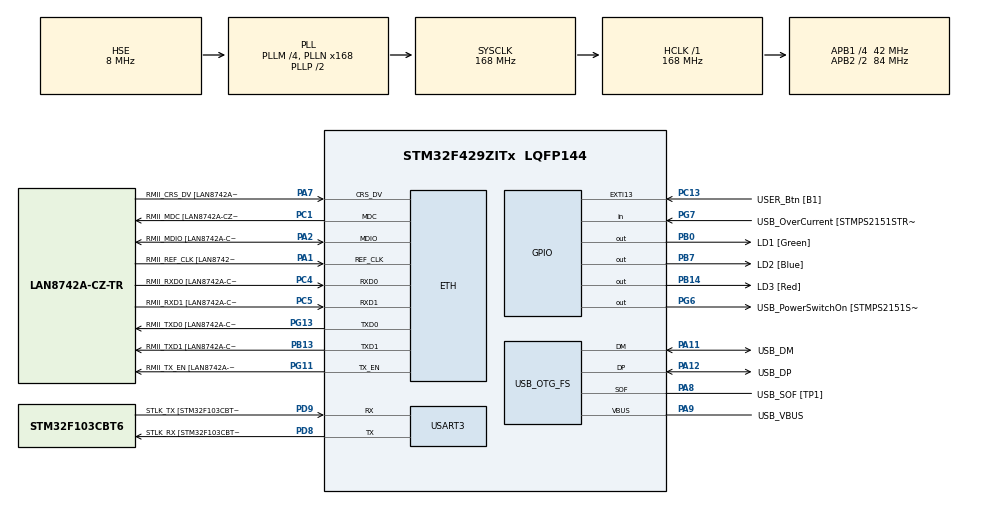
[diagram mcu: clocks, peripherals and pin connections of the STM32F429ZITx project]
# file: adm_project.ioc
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ETH.MediaInterface=HAL_ETH_RMII_MODE
ETH.PHY_Name=LAN8742A_PHY_ADDRESS
ETH.PHY_Value=0
ETH.PhyAddress=0
Mcu.Family=STM32F4
Mcu.Name=STM32F429ZITx
Mcu.Package=LQFP144
NVIC.PriorityGroup=NVIC_PRIORITYGROUP_4
PA1.GPIO_Label=RMII_REF_CLK [LAN8742A-CZ-TR_REFCLK0]
PA1.Mode=RMII
PA1.Signal=ETH_REF_CLK
PA10.GPIO_Label=USB_ID
PA10.Signal=USB_OTG_FS_ID
PA11.GPIO_Label=USB_DM
PA11.Mode=Device_Only
PA11.Signal=USB_OTG_FS_DM
PA12.GPIO_Label=USB_DP
PA12.Mode=Device_Only
PA12.Signal=USB_OTG_FS_DP
PA13.GPIO_Label=TMS
PA13.Mode=Serial_Wire
PA13.Signal=SYS_JTMS-SWDIO
PA14.GPIO_Label=TCK
PA14.Mode=Serial_Wire
PA14.Signal=SYS_JTCK-SWCLK
PA2.GPIO_Label=RMII_MDIO [LAN8742A-CZ-TR_MDIO]
PA2.Mode=RMII
PA2.Signal=ETH_MDIO
PA7.GPIO_Label=RMII_CRS_DV [LAN8742A-CZ-TR_CRS_DV]
PA7.Mode=RMII
PA7.Signal=ETH_CRS_DV
PA8.GPIO_Label=USB_SOF [TP1]
PA8.Mode=Activate_SOF_FS
PA8.Signal=USB_OTG_FS_SOF
PA9.GPIO_Label=USB_VBUS
PA9.Mode=Activate_VBUS
PA9.Signal=USB_OTG_FS_VBUS
PB0.GPIO_Label=LD1 [Green]
PB0.Signal=GPIO_Output
PB13.GPIO_Label=RMII_TXD1 [LAN8742A-CZ-TR_TXD1]
PB13.Mode=RMII
PB13.Signal=ETH_TXD1
PB14.GPIO_Label=LD3 [Red]
PB14.Signal=GPIO_Output
PB7.GPIO_Label=LD2 [Blue]
PB7.Signal=GPIO_Output
PC1.GPIO_Label=RMII_MDC [LAN8742A-CZ-TR_MDC]
PC1.Mode=RMII
PC1.Signal=ETH_MDC
PC13.GPIO_Label=USER_Btn [B1]
PC13.Signal=GPXTI13
PC14/OSC32_IN.Mode=LSE-External-Oscillator
PC14/OSC32_IN.Signal=RCC_OSC32_IN
PC15/OSC32_OUT.Mode=LSE-External-Oscillator
PC15/OSC32_OUT.Signal=RCC_OSC32_OUT
PC4.GPIO_Label=RMII_RXD0 [LAN8742A-CZ-TR_RXD0]
PC4.Mode=RMII
PC4.Signal=ETH_RXD0
PC5.GPIO_Label=RMII_RXD1 [LAN8742A-CZ-TR_RXD1]
PC5.Mode=RMII
PC5.Signal=ETH_RXD1
PD8.GPIO_Label=STLK_RX [STM32F103CBT6_PA3]
PD8.Mode=Asynchronous
PD8.Signal=USART3_TX
PD9.GPIO_Label=STLK_TX [STM32F103CBT6_PA2]
PD9.Mode=Asynchronous
PD9.Signal=USART3_RX
PG11.GPIO_Label=RMII_TX_EN [LAN8742A-CZ-TR_TXEN]
PG11.Mode=RMII
PG11.Signal=ETH_TX_EN
PG13.GPIO_Label=RMII_TXD0 [LAN8742A-CZ-TR_TXD0]
PG13.Mode=RMII
PG13.Signal=ETH_TXD0
PG6.GPIO_Label=USB_PowerSwitchOn [STMPS2151STR_EN]
PG6.Signal=GPIO_Output
PG7.GPIO_Label=USB_OverCurrent [STMPS2151STR_FAULT]
PG7.Signal=GPIO_Input
PH0/OSC_IN.GPIO_Label=MCO [STM32F103CBT6_PA8]
PH0/OSC_IN.Mode=HSE-External-Clock-Source
PH0/OSC_IN.Signal=RCC_OSC_IN
PH1/OSC_OUT.Mode=HSE-External-Clock-Source
PH1/OSC_OUT.Signal=RCC_OSC_OUT
ProjectManager.HeapSize=0x200
ProjectManager.StackSize=0x400
ProjectManager.TargetToolchain=STM32CubeIDE
RCC.48MHZClocksFreq_Value=48000000
RCC.AHBFreq_Value=168000000
RCC.APB1CLKDivider=RCC_HCLK_DIV4
RCC.APB1Freq_Value=42000000
RCC.APB1TimFreq_Value=84000000
RCC.APB2CLKDivider=RCC_HCLK_DIV2
RCC.APB2Freq_Value=84000000
RCC.APB2TimCLKDivider=2
RCC.APB2TimFreq_Value=168000000
RCC.CortexFreq_Value=168000000
RCC.HCLKFreq_Value=168000000
RCC.HSE_VALUE=8000000
RCC.HSI_VALUE=16000000
RCC.PLLM=4
RCC.PLLMUL=RCC_PLL_MUL9
RCC.PLLN=168
RCC.PLLQ=7
RCC.PRESCALERUSB=RCC_USBCLKSOURCE_PLL_DIV1_5
RCC.SYSCLKFreq_VALUE=168000000
RCC.SYSCLKSource=RCC_SYSCLKSOURCE_PLLCLK
RCC.SYSCLKSourceVirtual=RCC_SYSCLKSOURCE_PLLCLK
RCC.USBFreq_Value=48000000
RCC.VCOOutputFreq_Value=336000000
USART3.VirtualMode=VM_ASYNC
USB_OTG_FS.VirtualMode=Device_Only
board=NUCLEO-F429ZI

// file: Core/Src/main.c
/* USER CODE BEGIN Header */
/**
 ******************************************************************************
 * @file           : main.c
 * @brief          : Main program body
 ******************************************************************************
 * @attention
 *
 * Copyright (c) 2022 STMicroelectronics.
 * All rights reserved.
 *
 * This software is licensed under terms that can be found in the LICENSE file
 * in the root directory of this software component.
 * If no LICENSE file comes with this software, it is provided AS-IS.
 *
 ******************************************************************************
 */
/* USER CODE END Header */
#include "main.h"
#include "string.h"
#include "asm_func.h"
#include "exercises.h"

ETH_TxPacketConfig TxConfig;
ETH_DMADescTypeDef DMARxDscrTab[ETH_RX_DESC_CNT]; /* Ethernet Rx DMA Descriptors */
ETH_DMADescTypeDef DMATxDscrTab[ETH_TX_DESC_CNT]; /* Ethernet Tx DMA Descriptors */

ETH_HandleTypeDef heth;

UART_HandleTypeDef huart3;

PCD_HandleTypeDef hpcd_USB_OTG_FS;

void SystemClock_Config(void);
static void MX_GPIO_Init(void);
static void MX_ETH_Init(void);
static void MX_USART3_UART_Init(void);
static void MX_USB_OTG_FS_PCD_Init(void);

/* USER CODE BEGIN 0 */

static void PrivilegiosSVC(void) {
	// Obtiene valor del registro de 32 bits del procesador llamado "control".
	// El registro guarda los siguientes estados:
	// bit 2: Uso de FPU en el contexto actual. Usado=1, no usado=0.
	// bit 1: Mapeo del stack pointer(sp). MSP=0, PSP=1.
	// bit 0: Modo de ejecucion en Thread. Privilegiado=0, No privilegiado=1.
	//        Recordar que este valor solo se usa en modo Thread. Las
	//        interrupciones siempre se ejecutan en modo Handler con total
	//        privilegio.
	uint32_t x = __get_CONTROL();

	// Actividad de debug: Ver registro "control" y valor de variable "x".
	//__BKPT (0);

	x |= 1;
	// bit 0 a modo No privilegiado.
	__set_CONTROL(x);

	// En este punto se estaria ejecutando en modo No privilegiado.
	// Lectura del registro "control" para confirmar.
	x = __get_CONTROL();

	// Actividad de debug: Ver registro "control" y valor de variable "x".
	//__BKPT (0);

	x &= ~1u;
	// Se intenta volver a modo Privilegiado (bit 0, valor 0).
	__set_CONTROL(x);

	// Confirma que esta operacion es ignorada por estar ejecutandose en modo
	// Thread no privilegiado.
	x = __get_CONTROL();

	// Actividad de debug: Ver registro "control" y valor de variable "x".
	//__BKPT (0);

	// En este punto, ejecutando en modo Thread no privilegiado, la unica forma
	// de volver a modo privilegiado o de realizar cualquier cambio que requiera
	// modo privilegiado, es pidiendo ese servicio a un hipotetico sistema
	// opertivo de tiempo real.
	// Para esto se invoca por software a la interrupcion SVC (Supervisor Call)
	// utilizando la instruccion "svc".
	// No hay intrinsics para realizar esta tarea. Para utilizar la instruccion
	// es necesario implementar una funcion en assembler. Ver el archivo
	// asm_func.S.
	asm_svc();

	// El sistema operativo (el handler de SVC) deberia haber devuelto el modo
	// de ejecucion de Thread a privilegiado (bit 0 en valor 0).
	x = __get_CONTROL();

	// Fin del ejemplo de SVC
}
/* USER CODE END 0 */

void test_copy_vectors() {
	//
	// test -----------------------------------------------------------------
	//

	//
	// probando la funcion de copia de valores entre dos vectores en assembler (invento mio) :D
	//
	uint32_t vector3[16];
	uint32_t vector2[16];
	set_val(vector3, 16, 16);
	asm_copy_vector(vector2, vector3, 16);

}

void test_ejercicio_asm_1() {

	//
	// C
	//
	uint32_t vector1[16];
	zeros(vector1, 16);

	//
	// Assembler
	//
	uint32_t vector2[16];
	asm_zeros(vector2, 16);

}

void test_ejercicio_asm_2() {
	//
	// Assembler (el C fue testeado localmente)
	//

	uint32_t vector4[16];
	uint32_t vector5[16];
	set_val(vector4, 16, 2);
	set_val(vector5, 16, 1);
	asm_scalarProduct32(vector4, vector5, 16, 2);

}

void test_ejercicio_asm_3() {

	//
	// Assembler (C testeado localmente)
	//

	uint16_t vector6[16];
	uint16_t vector7[16];
	set_val_16(vector6, 16, 2);
	set_val_16(vector7, 16, 1);
	asm_scalarProduct16(vector6, vector7, 16, 2);

}

void test_exercise_asm_iterate() {

	int32_t vectorIn[8] = { -4234, -234, -434, 42, -988, 34, -6546, -345 };

	asm_iterate(vectorIn, 8);

}

void test_ejercicio_asm_4() {

	//
	// Assembler (C testeado localmente)
	//

	uint16_t vectorIn[16] = {
			200, 150, 100, 20
			, 35, 300, 250, 450
			, 35, 300, 250, 450
			, 35, 300, 250, 450 };

	uint16_t vectorOut[16];
	asm_scalarProduct12(vectorIn, vectorOut, 16, 400);
}

void test_exercise_asm_5() {

	uint16_t vectorIn[16] = {
			200, 150, 100, 20
			, 35, 300, 250, 450
			, 35, 300, 250, 450
			, 35, 300, 250, 450 };

	uint16_t vectorOut[16];
	windowFilter10(vectorIn, vectorOut, 16);

	uint16_t vectorOut2[16];
	asm_windowFilter10(vectorIn, vectorOut2, 16);
}

void test_exercise_asm_6() {

	uint32_t vectorIn[8] = {
			312313123, 12348598, 7823182123, 734782424
			, 312323123, 1148538, 78829123, 34724234 };

	uint16_t vectorOut[8];

	pack32_to_16(vectorIn, vectorOut, 8);

	uint16_t vectorOut2[8];
//	pack32_to_16(vectorIn, vectorOut2, 8);

	asm_pack32_to_16(vectorIn, vectorOut2, 8);

}

void test_exercise_asm_7() {

	int32_t vectorIn[8] = { -4234, -234, -434, 42, -988, 34, -6546, -345 };

	uint32_t max_index = get_max(vectorIn, 8);
	uint32_t max_index_s = asm_get_max(vectorIn, 8);

}

void test_exercise_asm_8() {

	int32_t vectorIn[8] = { -4234, -234, -434, 42, -988, 34, -6546, -345 };
	int32_t vectorOut[6];
	int32_t vectorOut2[6];
	downsampleM(vectorIn, vectorOut, 8, 3);
	asm_downsampleM(vectorIn, vectorOut2, 8, 3);

}

void test_exercise_asm_9() {

	int16_t vectorIn[8] = { 4234, 234, 434, 42, 988, 34, 6546, 345 };
	rotate(vectorIn, 8);

	int16_t vectorIn2[8] = { 4234, 234, 434, 42, 988, 34, 6546, 345 };
	asm_rotate(vectorIn2, 8);

}

int main(void) {

	/* MCU Configuration--------------------------------------------------------*/

	/* Reset of all peripherals, Initializes the Flash interface and the Systick. */
	HAL_Init();

	/* Configure the system clock */
	SystemClock_Config();

	/* Initialize all configured peripherals */
	MX_GPIO_Init();
	MX_ETH_Init();
	MX_USART3_UART_Init();
	MX_USB_OTG_FS_PCD_Init();
	/* USER CODE BEGIN 2 */
	PrivilegiosSVC();
	const uint32_t Resultado = asm_sum(5, 3);

	//
	// ---------------------------EJERCICIOS ---------------------------------------
	//

	//
	// EJERCICIO 1 -----------------------------------------------------------------
	//

	test_ejercicio_asm_1();

	//
	// EJERCICIO 2 -----------------------------------------------------------------
	//

	test_ejercicio_asm_2();

	//
	// EJERCICIO 3 -----------------------------------------------------------------
	//

	test_ejercicio_asm_3();

	//
	// test iterate -----------------------------------------------------------------
	//
	test_exercise_asm_iterate();

	//
	// EJERCICIO 4 -----------------------------------------------------------------
	//

	test_ejercicio_asm_4();

	//
	// EJERCICIO 5 -----------------------------------------------------------------
	//
	test_exercise_asm_5();

	//
	// EJERCICIO 6 -----------------------------------------------------------------
	//
	test_exercise_asm_6();

	//
	// EJERCICIO 7 -----------------------------------------------------------------
	//
	test_exercise_asm_7();

	//
	// EJERCICIO 8 -----------------------------------------------------------------
	//
	test_exercise_asm_8();

	//
	// EJERCICIO 9 -----------------------------------------------------------------
	//
	test_exercise_asm_9();

	//
	// -------------------------- END EJERCICIOS ------------------------------------

	/* USER CODE END 2 */

	/* Infinite loop */
	while (1) {

	}
}

void SystemClock_Config(void) {
	RCC_OscInitTypeDef RCC_OscInitStruct = { 0 };
	RCC_ClkInitTypeDef RCC_ClkInitStruct = { 0 };

	/** Configure the main internal regulator output voltage
	 */
	__HAL_RCC_PWR_CLK_ENABLE();
	__HAL_PWR_VOLTAGESCALING_CONFIG(PWR_REGULATOR_VOLTAGE_SCALE1);

	/** Initializes the RCC Oscillators according to the specified parameters
	 * in the RCC_OscInitTypeDef structure.
	 */
	RCC_OscInitStruct.OscillatorType = RCC_OSCILLATORTYPE_HSE;
	RCC_OscInitStruct.HSEState = RCC_HSE_BYPASS;
	RCC_OscInitStruct.PLL.PLLState = RCC_PLL_ON;
	RCC_OscInitStruct.PLL.PLLSource = RCC_PLLSOURCE_HSE;
	RCC_OscInitStruct.PLL.PLLM = 4;
	RCC_OscInitStruct.PLL.PLLN = 168;
	RCC_OscInitStruct.PLL.PLLP = RCC_PLLP_DIV2;
	RCC_OscInitStruct.PLL.PLLQ = 7;
	if (HAL_RCC_OscConfig(&RCC_OscInitStruct) != HAL_OK) {
		Error_Handler();
	}

	/** Initializes the CPU, AHB and APB buses clocks
	 */
	RCC_ClkInitStruct.ClockType = RCC_CLOCKTYPE_HCLK | RCC_CLOCKTYPE_SYSCLK
			| RCC_CLOCKTYPE_PCLK1 | RCC_CLOCKTYPE_PCLK2;
	RCC_ClkInitStruct.SYSCLKSource = RCC_SYSCLKSOURCE_PLLCLK;
	RCC_ClkInitStruct.AHBCLKDivider = RCC_SYSCLK_DIV1;
	RCC_ClkInitStruct.APB1CLKDivider = RCC_HCLK_DIV4;
	RCC_ClkInitStruct.APB2CLKDivider = RCC_HCLK_DIV2;

	if (HAL_RCC_ClockConfig(&RCC_ClkInitStruct, FLASH_LATENCY_5) != HAL_OK) {
		Error_Handler();
	}
}

static void MX_ETH_Init(void) {

	static uint8_t MACAddr[6];

	heth.Instance = ETH;
	MACAddr[0] = 0x00;
	MACAddr[1] = 0x80;
	MACAddr[2] = 0xE1;
	MACAddr[3] = 0x00;
	MACAddr[4] = 0x00;
	MACAddr[5] = 0x00;
	heth.Init.MACAddr = &MACAddr[0];
	heth.Init.MediaInterface = HAL_ETH_RMII_MODE;
	heth.Init.TxDesc = DMATxDscrTab;
	heth.Init.RxDesc = DMARxDscrTab;
	heth.Init.RxBuffLen = 1524;

	if (HAL_ETH_Init(&heth) != HAL_OK) {
		Error_Handler();
	}

	memset(&TxConfig, 0, sizeof(ETH_TxPacketConfig));
	TxConfig.Attributes = ETH_TX_PACKETS_FEATURES_CSUM
			| ETH_TX_PACKETS_FEATURES_CRCPAD;
	TxConfig.ChecksumCtrl = ETH_CHECKSUM_IPHDR_PAYLOAD_INSERT_PHDR_CALC;
	TxConfig.CRCPadCtrl = ETH_CRC_PAD_INSERT;

}

static void MX_USART3_UART_Init(void) {

	huart3.Instance = USART3;
	huart3.Init.BaudRate = 115200;
	huart3.Init.WordLength = UART_WORDLENGTH_8B;
	huart3.Init.StopBits = UART_STOPBITS_1;
	huart3.Init.Parity = UART_PARITY_NONE;
	huart3.Init.Mode = UART_MODE_TX_RX;
	huart3.Init.HwFlowCtl = UART_HWCONTROL_NONE;
	huart3.Init.OverSampling = UART_OVERSAMPLING_16;
	if (HAL_UART_Init(&huart3) != HAL_OK) {
		Error_Handler();
	}

}

static void MX_USB_OTG_FS_PCD_Init(void) {

	hpcd_USB_OTG_FS.Instance = USB_OTG_FS;
	hpcd_USB_OTG_FS.Init.dev_endpoints = 4;
	hpcd_USB_OTG_FS.Init.speed = PCD_SPEED_FULL;
	hpcd_USB_OTG_FS.Init.dma_enable = DISABLE;
	hpcd_USB_OTG_FS.Init.phy_itface = PCD_PHY_EMBEDDED;
	hpcd_USB_OTG_FS.Init.Sof_enable = ENABLE;
	hpcd_USB_OTG_FS.Init.low_power_enable = DISABLE;
	hpcd_USB_OTG_FS.Init.lpm_enable = DISABLE;
	hpcd_USB_OTG_FS.Init.vbus_sensing_enable = ENABLE;
	hpcd_USB_OTG_FS.Init.use_dedicated_ep1 = DISABLE;
//	if (HAL_PCD_Init(&hpcd_USB_OTG_FS) != HAL_OK) {
//		Error_Handler();
//	}

}

static void MX_GPIO_Init(void) {
	GPIO_InitTypeDef GPIO_InitStruct = { 0 };

	/* GPIO Ports Clock Enable */
	__HAL_RCC_GPIOC_CLK_ENABLE();
	__HAL_RCC_GPIOH_CLK_ENABLE();
	__HAL_RCC_GPIOA_CLK_ENABLE();
	__HAL_RCC_GPIOB_CLK_ENABLE();
	__HAL_RCC_GPIOD_CLK_ENABLE();
	__HAL_RCC_GPIOG_CLK_ENABLE();

	/*Configure GPIO pin Output Level */
	HAL_GPIO_WritePin(GPIOB, LD1_Pin | LD3_Pin | LD2_Pin, GPIO_PIN_RESET);

	/*Configure GPIO pin Output Level */
	HAL_GPIO_WritePin(USB_PowerSwitchOn_GPIO_Port, USB_PowerSwitchOn_Pin,
			GPIO_PIN_RESET);

	/*Configure GPIO pin : USER_Btn_Pin */
	GPIO_InitStruct.Pin = USER_Btn_Pin;
	GPIO_InitStruct.Mode = GPIO_MODE_IT_RISING;
	GPIO_InitStruct.Pull = GPIO_NOPULL;
	HAL_GPIO_Init(USER_Btn_GPIO_Port, &GPIO_InitStruct);

	/*Configure GPIO pins : LD1_Pin LD3_Pin LD2_Pin */
	GPIO_InitStruct.Pin = LD1_Pin | LD3_Pin | LD2_Pin;
	GPIO_InitStruct.Mode = GPIO_MODE_OUTPUT_PP;
	GPIO_InitStruct.Pull = GPIO_NOPULL;
	GPIO_InitStruct.Speed = GPIO_SPEED_FREQ_LOW;
	HAL_GPIO_Init(GPIOB, &GPIO_InitStruct);

	/*Configure GPIO pin : USB_PowerSwitchOn_Pin */
	GPIO_InitStruct.Pin = USB_PowerSwitchOn_Pin;
	GPIO_InitStruct.Mode = GPIO_MODE_OUTPUT_PP;
	GPIO_InitStruct.Pull = GPIO_NOPULL;
	GPIO_InitStruct.Speed = GPIO_SPEED_FREQ_LOW;
	HAL_GPIO_Init(USB_PowerSwitchOn_GPIO_Port, &GPIO_InitStruct);

	/*Configure GPIO pin : USB_OverCurrent_Pin */
	GPIO_InitStruct.Pin = USB_OverCurrent_Pin;
	GPIO_InitStruct.Mode = GPIO_MODE_INPUT;
	GPIO_InitStruct.Pull = GPIO_NOPULL;
	HAL_GPIO_Init(USB_OverCurrent_GPIO_Port, &GPIO_InitStruct);

}

void Error_Handler(void) {
	__disable_irq();
	while (1) {
	}
}
